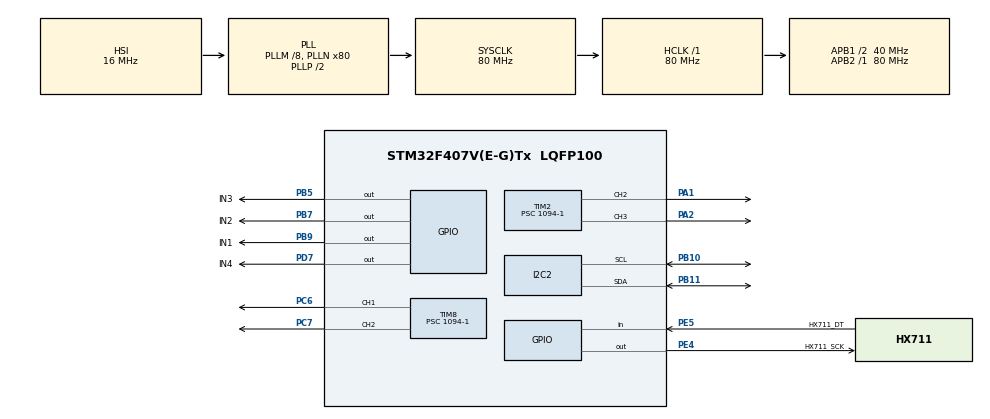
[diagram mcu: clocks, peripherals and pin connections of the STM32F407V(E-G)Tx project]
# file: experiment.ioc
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I2C2.I2C_Mode=I2C_Fast
Mcu.Family=STM32F4
Mcu.Name=STM32F407V(E-G)Tx
Mcu.Package=LQFP100
NVIC.PriorityGroup=NVIC_PRIORITYGROUP_4
PA1.Signal=S_TIM2_CH2
PA2.Signal=S_TIM2_CH3
PB10.Mode=I2C
PB10.Signal=I2C2_SCL
PB11.Mode=I2C
PB11.Signal=I2C2_SDA
PB5.GPIO_Label=IN3
PB5.GPIO_PuPd=GPIO_PULLUP
PB5.GPIO_Speed=GPIO_SPEED_FREQ_HIGH
PB5.PinState=GPIO_PIN_SET
PB5.Signal=GPIO_Output
PB7.GPIO_Label=IN2
PB7.GPIO_PuPd=GPIO_PULLUP
PB7.GPIO_Speed=GPIO_SPEED_FREQ_HIGH
PB7.PinState=GPIO_PIN_SET
PB7.Signal=GPIO_Output
PB9.GPIO_Label=IN1
PB9.GPIO_PuPd=GPIO_PULLUP
PB9.GPIO_Speed=GPIO_SPEED_FREQ_HIGH
PB9.PinState=GPIO_PIN_SET
PB9.Signal=GPIO_Output
PC14-OSC32_IN.Mode=LSE-External-Oscillator
PC14-OSC32_IN.Signal=RCC_OSC32_IN
PC15-OSC32_OUT.Mode=LSE-External-Oscillator
PC15-OSC32_OUT.Signal=RCC_OSC32_OUT
PC6.Signal=S_TIM8_CH1
PC7.Signal=S_TIM8_CH2
PD7.GPIO_Label=IN4
PD7.GPIO_PuPd=GPIO_PULLUP
PD7.GPIO_Speed=GPIO_SPEED_FREQ_HIGH
PD7.PinState=GPIO_PIN_SET
PD7.Signal=GPIO_Output
PE4.GPIO_Label=HX711_SCK
PE4.Signal=GPIO_Output
PE5.GPIO_Label=HX711_DT
PE5.Signal=GPIO_Input
PH0-OSC_IN.Mode=HSE-External-Oscillator
PH0-OSC_IN.Signal=RCC_OSC_IN
PH1-OSC_OUT.Mode=HSE-External-Oscillator
PH1-OSC_OUT.Signal=RCC_OSC_OUT
ProjectManager.HeapSize=0x200
ProjectManager.StackSize=0x400
ProjectManager.TargetToolchain=STM32CubeIDE
RCC.48MHZClocksFreq_Value=40000000
RCC.AHBFreq_Value=80000000
RCC.APB1CLKDivider=RCC_HCLK_DIV2
RCC.APB1Freq_Value=40000000
RCC.APB1TimFreq_Value=80000000
RCC.APB2Freq_Value=80000000
RCC.APB2TimFreq_Value=80000000
RCC.CortexFreq_Value=80000000
RCC.HCLKFreq_Value=80000000
RCC.HSE_VALUE=25000000
RCC.HSI_VALUE=16000000
RCC.PLLM=8
RCC.PLLN=80
RCC.SYSCLKFreq_VALUE=80000000
RCC.SYSCLKSource=RCC_SYSCLKSOURCE_PLLCLK
RCC.VCOOutputFreq_Value=160000000
SH.S_TIM2_CH2.0=TIM2_CH2,PWM Generation2 CH2
SH.S_TIM2_CH3.0=TIM2_CH3,PWM Generation3 CH3
SH.S_TIM8_CH1.0=TIM8_CH1,PWM Generation1 CH1
SH.S_TIM8_CH2.0=TIM8_CH2,PWM Generation2 CH2
TIM2.Channel-Output\ Compare1\ No\ Output=TIM_CHANNEL_1
TIM2.Channel-PWM\ Generation2\ CH2=TIM_CHANNEL_2
TIM2.Channel-PWM\ Generation3\ CH3=TIM_CHANNEL_3
TIM2.OCPolarity_3=TIM_OCPOLARITY_LOW
TIM2.Period=1000-1
TIM2.Prescaler=1094-1
TIM2.Pulse-Output\ Compare1\ No\ Output=250
TIM2.Pulse-PWM\ Generation2\ CH2=500
TIM2.Pulse-PWM\ Generation3\ CH3=500
TIM2.TIM_MasterOutputTrigger=TIM_TRGO_OC1
TIM2.TIM_MasterSlaveMode=TIM_MASTERSLAVEMODE_ENABLE
TIM3.Period=0xffff
TIM3.Prescaler=80-1
TIM4.Period=0xffff
TIM4.Prescaler=80-1
TIM8.Channel-PWM\ Generation1\ CH1=TIM_CHANNEL_1
TIM8.Channel-PWM\ Generation2\ CH2=TIM_CHANNEL_2
TIM8.OCPolarity_2=TIM_OCPOLARITY_LOW
TIM8.Period=9999
TIM8.Prescaler=1094-1
TIM8.Pulse-PWM\ Generation1\ CH1=500
TIM8.Pulse-PWM\ Generation2\ CH2=500
VP_TIM2_VS_ClockSourceINT.Mode=Internal
VP_TIM2_VS_no_output1.Mode=Output Compare1 No Output
VP_TIM3_VS_ClockSourceINT.Mode=Internal
VP_TIM4_VS_ClockSourceINT.Mode=Internal
VP_TIM8_VS_ClockSourceINT.Mode=Internal
VP_TIM8_VS_ClockSourceITR.Mode=TriggerSource_ITR1
VP_TIM8_VS_ControllerModeReset.Mode=Reset Mode
board=custom

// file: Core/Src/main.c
/* USER CODE BEGIN Header */
/**
  ******************************************************************************
  * @file           : main.c
  * @brief          : Main program body
  ******************************************************************************
  * @attention
  *
  * Copyright (c) 2023 STMicroelectronics.
  * All rights reserved.
  *
  * This software is licensed under terms that can be found in the LICENSE file
  * in the root directory of this software component.
  * If no LICENSE file comes with this software, it is provided AS-IS.
  *
  ******************************************************************************
  */
/* USER CODE END Header */
#include "main.h"

I2C_HandleTypeDef hi2c2;

TIM_HandleTypeDef htim2;
TIM_HandleTypeDef htim3;
TIM_HandleTypeDef htim4;
TIM_HandleTypeDef htim8;

/* USER CODE BEGIN PV */
int locate = 1;

/* USER CODE END PV */

void SystemClock_Config(void);
static void MX_GPIO_Init(void);
static void MX_TIM2_Init(void);
static void MX_TIM8_Init(void);
static void MX_TIM4_Init(void);
static void MX_I2C2_Init(void);
static void MX_TIM3_Init(void);

/* USER CODE BEGIN 0 */

#define stepsperrev 4096
int32_t weight = 0;
int32_t initial_weight = 0;
void micro_delay(uint16_t us)
{
	__HAL_TIM_SET_COUNTER(&htim4,0);
	while(__HAL_TIM_GET_COUNTER(&htim4) < us);
}

void delay_us (uint16_t us) //delay function
{
__HAL_TIM_SET_COUNTER(&htim3,0);  // setting the delay counter to 0.
while (__HAL_TIM_GET_COUNTER(&htim3) < us);  // while loop till the counter reaches the delay given (us).
}
void stepper_set_rpm(int rpm)
{
	micro_delay(60000000/stepsperrev/rpm);
}
void stepper_half_drive(int step)
{
	switch(step){
	case 0:
		HAL_GPIO_WritePin(IN1_GPIO_Port, IN1_Pin, GPIO_PIN_SET);
		HAL_GPIO_WritePin(IN2_GPIO_Port, IN2_Pin, GPIO_PIN_RESET);
		HAL_GPIO_WritePin(IN3_GPIO_Port, IN3_Pin, GPIO_PIN_RESET);
		HAL_GPIO_WritePin(IN4_GPIO_Port, IN4_Pin, GPIO_PIN_RESET);
		break;

	case 1:
		HAL_GPIO_WritePin(IN1_GPIO_Port, IN1_Pin, GPIO_PIN_SET);
		HAL_GPIO_WritePin(IN2_GPIO_Port, IN2_Pin, GPIO_PIN_SET);
		HAL_GPIO_WritePin(IN3_GPIO_Port, IN3_Pin, GPIO_PIN_RESET);
		HAL_GPIO_WritePin(IN4_GPIO_Port, IN4_Pin, GPIO_PIN_RESET);
		break;

	case 2:
		HAL_GPIO_WritePin(IN1_GPIO_Port, IN1_Pin, GPIO_PIN_RESET);
		HAL_GPIO_WritePin(IN2_GPIO_Port, IN2_Pin, GPIO_PIN_SET);
		HAL_GPIO_WritePin(IN3_GPIO_Port, IN3_Pin, GPIO_PIN_RESET);
		HAL_GPIO_WritePin(IN4_GPIO_Port, IN4_Pin, GPIO_PIN_RESET);
		break;

	case 3:
		HAL_GPIO_WritePin(IN1_GPIO_Port, IN1_Pin, GPIO_PIN_RESET);
		HAL_GPIO_WritePin(IN2_GPIO_Port, IN2_Pin, GPIO_PIN_SET);
		HAL_GPIO_WritePin(IN3_GPIO_Port, IN3_Pin, GPIO_PIN_SET);
		HAL_GPIO_WritePin(IN4_GPIO_Port, IN4_Pin, GPIO_PIN_RESET);
		break;

	case 4:
		HAL_GPIO_WritePin(IN1_GPIO_Port, IN1_Pin, GPIO_PIN_RESET);
		HAL_GPIO_WritePin(IN2_GPIO_Port, IN2_Pin, GPIO_PIN_RESET);
		HAL_GPIO_WritePin(IN3_GPIO_Port, IN3_Pin, GPIO_PIN_SET);
		HAL_GPIO_WritePin(IN4_GPIO_Port, IN4_Pin, GPIO_PIN_RESET);
		break;

	case 5:
		HAL_GPIO_WritePin(IN1_GPIO_Port, IN1_Pin, GPIO_PIN_RESET);
		HAL_GPIO_WritePin(IN2_GPIO_Port, IN2_Pin, GPIO_PIN_RESET);
		HAL_GPIO_WritePin(IN3_GPIO_Port, IN3_Pin, GPIO_PIN_SET);
		HAL_GPIO_WritePin(IN4_GPIO_Port, IN4_Pin, GPIO_PIN_SET);
		break;

	case 6:
		HAL_GPIO_WritePin(IN1_GPIO_Port, IN1_Pin, GPIO_PIN_RESET);
		HAL_GPIO_WritePin(IN2_GPIO_Port, IN2_Pin, GPIO_PIN_RESET);
		HAL_GPIO_WritePin(IN3_GPIO_Port, IN3_Pin, GPIO_PIN_RESET);
		HAL_GPIO_WritePin(IN4_GPIO_Port, IN4_Pin, GPIO_PIN_SET);
		break;

	case 7:
		HAL_GPIO_WritePin(IN1_GPIO_Port, IN1_Pin, GPIO_PIN_SET);
		HAL_GPIO_WritePin(IN2_GPIO_Port, IN2_Pin, GPIO_PIN_RESET);
		HAL_GPIO_WritePin(IN3_GPIO_Port, IN3_Pin, GPIO_PIN_RESET);
		HAL_GPIO_WritePin(IN4_GPIO_Port, IN4_Pin, GPIO_PIN_SET);
		break;
	}
}

void stepper_step_angle (float angle, int direction, int rpm)
{
  float anglepersequence = 0.703125;  // 360 = 512 sequences
  int numberofsequences = (int) (angle/anglepersequence);

  for (int seq=0; seq<numberofsequences; seq++)
  {
    if (direction == 0)  // for anti- clockwise
    {
      for (int step=7; step>=0; step--)
      {
        stepper_half_drive(step);
        stepper_set_rpm(rpm);
      }

    }

    else if (direction == 1)  // for clockwise
    {
      for (int step=0; step<8; step++)
      {
        stepper_half_drive(step);
        stepper_set_rpm(rpm);
      }
    }
  }
}

void six_step(int n)
{
    //printTemper(n);

	if(n != locate)
	{

	int temp =locate;
	int cnt1 = 0; //clock-wise

	int cnt2 = 0; //anti-clock-wise

	//clock
	for(int i = 1; i<=5; i++)
		{
			temp++;
			cnt1++;

			if(temp > 6)
			{
				temp = 1;
			}
			if(temp == n)
			{
				stepper_step_angle(60*cnt1,1,13);
				locate = n;

				return;
			}
			if(cnt1>=3)
			{

			    break;
			}

		}

	//anti-clock
	temp = locate;
	for(int i = 1; i<=5; i++)
		{
			temp--;
			cnt2++;

			if(temp < 1)
			{
				temp = 6;
			}
			if(temp == n)
			{
				stepper_step_angle(60*cnt2,0,13);
				locate = n;
				return;
			}
			if(cnt2>=3)
			{
				stepper_step_angle(60*cnt2,0,13);
				locate = n;
				return;
			}

		}

	}

}
/* USER CODE END 0 */

int main(void)
{

  /* MCU Configuration--------------------------------------------------------*/

  /* Reset of all peripherals, Initializes the Flash interface and the Systick. */
  HAL_Init();

  /* Configure the system clock */
  SystemClock_Config();

  /* Initialize all configured peripherals */
  MX_GPIO_Init();
  MX_TIM2_Init();
  MX_TIM8_Init();
  MX_TIM4_Init();
  MX_I2C2_Init();
  MX_TIM3_Init();
  /* USER CODE BEGIN 2 */
  //oled
  //SSD1306_Init();
  //SSD1306_InvertDisplay(1);
  //double qq = 15;

  //hx711
  HAL_TIM_Base_Start(&htim3);
  initial_weight = Get_Weight();

/*
  HAL_TIM_PWM_Start(&htim2, TIM_CHANNEL_2);

  HAL_TIM_PWM_Start(&htim2, TIM_CHANNEL_3);

  HAL_TIM_PWM_Start(&htim8, TIM_CHANNEL_1);

  HAL_TIM_PWM_Start(&htim8, TIM_CHANNEL_2);

  opening(qq);

  HAL_TIM_PWM_Stop(&htim2, TIM_CHANNEL_2);

  HAL_TIM_PWM_Stop(&htim2, TIM_CHANNEL_3);

  HAL_TIM_PWM_Stop(&htim8, TIM_CHANNEL_1);

  HAL_TIM_PWM_Stop(&htim8, TIM_CHANNEL_2);
*/
  /* USER CODE END 2 */

  /* Infinite loop */
  /* USER CODE BEGIN WHILE */
  while (1)
  {

	  weight = Get_Weight() - initial_weight;
	  weight *=-1;
	  HAL_Delay(100);

	  /*
	  for(int i = 0; i<512; i++)
	  {
		  for(int j = 0; j<8; j++)
		  {
			  stepper_half_drive(j);
			  stepper_set_rpm(5);
		  }
	  }
	  */
/*
	  six_step(1);

	 	  HAL_Delay(4000);

	 	  six_step(2);

	 	  HAL_Delay(4000);

	 	  six_step(6);

	 	  HAL_Delay(4000);

	 	  six_step(2);

	 	  HAL_Delay(4000);

	 	  six_step(4);

	 	  HAL_Delay(4000);
*/

    /* USER CODE END WHILE */

  }
}

void SystemClock_Config(void)
{
  RCC_OscInitTypeDef RCC_OscInitStruct = {0};
  RCC_ClkInitTypeDef RCC_ClkInitStruct = {0};

  /** Configure the main internal regulator output voltage
  */
  __HAL_RCC_PWR_CLK_ENABLE();
  __HAL_PWR_VOLTAGESCALING_CONFIG(PWR_REGULATOR_VOLTAGE_SCALE1);

  /** Initializes the RCC Oscillators according to the specified parameters
  * in the RCC_OscInitTypeDef structure.
  */
  RCC_OscInitStruct.OscillatorType = RCC_OSCILLATORTYPE_HSI;
  RCC_OscInitStruct.HSIState = RCC_HSI_ON;
  RCC_OscInitStruct.HSICalibrationValue = RCC_HSICALIBRATION_DEFAULT;
  RCC_OscInitStruct.PLL.PLLState = RCC_PLL_ON;
  RCC_OscInitStruct.PLL.PLLSource = RCC_PLLSOURCE_HSI;
  RCC_OscInitStruct.PLL.PLLM = 8;
  RCC_OscInitStruct.PLL.PLLN = 80;
  RCC_OscInitStruct.PLL.PLLP = RCC_PLLP_DIV2;
  RCC_OscInitStruct.PLL.PLLQ = 4;
  if (HAL_RCC_OscConfig(&RCC_OscInitStruct) != HAL_OK)
  {
    Error_Handler();
  }

  /** Initializes the CPU, AHB and APB buses clocks
  */
  RCC_ClkInitStruct.ClockType = RCC_CLOCKTYPE_HCLK|RCC_CLOCKTYPE_SYSCLK
                              |RCC_CLOCKTYPE_PCLK1|RCC_CLOCKTYPE_PCLK2;
  RCC_ClkInitStruct.SYSCLKSource = RCC_SYSCLKSOURCE_PLLCLK;
  RCC_ClkInitStruct.AHBCLKDivider = RCC_SYSCLK_DIV1;
  RCC_ClkInitStruct.APB1CLKDivider = RCC_HCLK_DIV2;
  RCC_ClkInitStruct.APB2CLKDivider = RCC_HCLK_DIV1;

  if (HAL_RCC_ClockConfig(&RCC_ClkInitStruct, FLASH_LATENCY_2) != HAL_OK)
  {
    Error_Handler();
  }
}

static void MX_I2C2_Init(void)
{

  hi2c2.Instance = I2C2;
  hi2c2.Init.ClockSpeed = 400000;
  hi2c2.Init.DutyCycle = I2C_DUTYCYCLE_2;
  hi2c2.Init.OwnAddress1 = 0;
  hi2c2.Init.AddressingMode = I2C_ADDRESSINGMODE_7BIT;
  hi2c2.Init.DualAddressMode = I2C_DUALADDRESS_DISABLE;
  hi2c2.Init.OwnAddress2 = 0;
  hi2c2.Init.GeneralCallMode = I2C_GENERALCALL_DISABLE;
  hi2c2.Init.NoStretchMode = I2C_NOSTRETCH_DISABLE;
  if (HAL_I2C_Init(&hi2c2) != HAL_OK)
  {
    Error_Handler();
  }

}

static void MX_TIM2_Init(void)
{

  TIM_ClockConfigTypeDef sClockSourceConfig = {0};
  TIM_MasterConfigTypeDef sMasterConfig = {0};
  TIM_OC_InitTypeDef sConfigOC = {0};

  htim2.Instance = TIM2;
  htim2.Init.Prescaler = 1094-1;
  htim2.Init.CounterMode = TIM_COUNTERMODE_UP;
  htim2.Init.Period = 1000-1;
  htim2.Init.ClockDivision = TIM_CLOCKDIVISION_DIV1;
  htim2.Init.AutoReloadPreload = TIM_AUTORELOAD_PRELOAD_DISABLE;
  if (HAL_TIM_Base_Init(&htim2) != HAL_OK)
  {
    Error_Handler();
  }
  sClockSourceConfig.ClockSource = TIM_CLOCKSOURCE_INTERNAL;
  if (HAL_TIM_ConfigClockSource(&htim2, &sClockSourceConfig) != HAL_OK)
  {
    Error_Handler();
  }
  if (HAL_TIM_OC_Init(&htim2) != HAL_OK)
  {
    Error_Handler();
  }
  if (HAL_TIM_PWM_Init(&htim2) != HAL_OK)
  {
    Error_Handler();
  }
  sMasterConfig.MasterOutputTrigger = TIM_TRGO_OC1;
  sMasterConfig.MasterSlaveMode = TIM_MASTERSLAVEMODE_ENABLE;
  if (HAL_TIMEx_MasterConfigSynchronization(&htim2, &sMasterConfig) != HAL_OK)
  {
    Error_Handler();
  }
  sConfigOC.OCMode = TIM_OCMODE_TIMING;
  sConfigOC.Pulse = 250;
  sConfigOC.OCPolarity = TIM_OCPOLARITY_HIGH;
  sConfigOC.OCFastMode = TIM_OCFAST_DISABLE;
  if (HAL_TIM_OC_ConfigChannel(&htim2, &sConfigOC, TIM_CHANNEL_1) != HAL_OK)
  {
    Error_Handler();
  }
  sConfigOC.OCMode = TIM_OCMODE_PWM1;
  sConfigOC.Pulse = 500;
  if (HAL_TIM_PWM_ConfigChannel(&htim2, &sConfigOC, TIM_CHANNEL_2) != HAL_OK)
  {
    Error_Handler();
  }
  sConfigOC.OCPolarity = TIM_OCPOLARITY_LOW;
  if (HAL_TIM_PWM_ConfigChannel(&htim2, &sConfigOC, TIM_CHANNEL_3) != HAL_OK)
  {
    Error_Handler();
  }
  HAL_TIM_MspPostInit(&htim2);

}

static void MX_TIM3_Init(void)
{

  TIM_ClockConfigTypeDef sClockSourceConfig = {0};
  TIM_MasterConfigTypeDef sMasterConfig = {0};

  htim3.Instance = TIM3;
  htim3.Init.Prescaler = 80-1;
  htim3.Init.CounterMode = TIM_COUNTERMODE_UP;
  htim3.Init.Period = 0xffff;
  htim3.Init.ClockDivision = TIM_CLOCKDIVISION_DIV1;
  htim3.Init.AutoReloadPreload = TIM_AUTORELOAD_PRELOAD_DISABLE;
  if (HAL_TIM_Base_Init(&htim3) != HAL_OK)
  {
    Error_Handler();
  }
  sClockSourceConfig.ClockSource = TIM_CLOCKSOURCE_INTERNAL;
  if (HAL_TIM_ConfigClockSource(&htim3, &sClockSourceConfig) != HAL_OK)
  {
    Error_Handler();
  }
  sMasterConfig.MasterOutputTrigger = TIM_TRGO_RESET;
  sMasterConfig.MasterSlaveMode = TIM_MASTERSLAVEMODE_DISABLE;
  if (HAL_TIMEx_MasterConfigSynchronization(&htim3, &sMasterConfig) != HAL_OK)
  {
    Error_Handler();
  }

}

static void MX_TIM4_Init(void)
{

  TIM_ClockConfigTypeDef sClockSourceConfig = {0};
  TIM_MasterConfigTypeDef sMasterConfig = {0};

  htim4.Instance = TIM4;
  htim4.Init.Prescaler = 80-1;
  htim4.Init.CounterMode = TIM_COUNTERMODE_UP;
  htim4.Init.Period = 0xffff;
  htim4.Init.ClockDivision = TIM_CLOCKDIVISION_DIV1;
  htim4.Init.AutoReloadPreload = TIM_AUTORELOAD_PRELOAD_DISABLE;
  if (HAL_TIM_Base_Init(&htim4) != HAL_OK)
  {
    Error_Handler();
  }
  sClockSourceConfig.ClockSource = TIM_CLOCKSOURCE_INTERNAL;
  if (HAL_TIM_ConfigClockSource(&htim4, &sClockSourceConfig) != HAL_OK)
  {
    Error_Handler();
  }
  sMasterConfig.MasterOutputTrigger = TIM_TRGO_RESET;
  sMasterConfig.MasterSlaveMode = TIM_MASTERSLAVEMODE_DISABLE;
  if (HAL_TIMEx_MasterConfigSynchronization(&htim4, &sMasterConfig) != HAL_OK)
  {
    Error_Handler();
  }

}

static void MX_TIM8_Init(void)
{

  TIM_ClockConfigTypeDef sClockSourceConfig = {0};
  TIM_SlaveConfigTypeDef sSlaveConfig = {0};
  TIM_MasterConfigTypeDef sMasterConfig = {0};
  TIM_OC_InitTypeDef sConfigOC = {0};
  TIM_BreakDeadTimeConfigTypeDef sBreakDeadTimeConfig = {0};

  htim8.Instance = TIM8;
  htim8.Init.Prescaler = 1094-1;
  htim8.Init.CounterMode = TIM_COUNTERMODE_UP;
  htim8.Init.Period = 9999;
  htim8.Init.ClockDivision = TIM_CLOCKDIVISION_DIV1;
  htim8.Init.RepetitionCounter = 0;
  htim8.Init.AutoReloadPreload = TIM_AUTORELOAD_PRELOAD_DISABLE;
  if (HAL_TIM_Base_Init(&htim8) != HAL_OK)
  {
    Error_Handler();
  }
  sClockSourceConfig.ClockSource = TIM_CLOCKSOURCE_INTERNAL;
  if (HAL_TIM_ConfigClockSource(&htim8, &sClockSourceConfig) != HAL_OK)
  {
    Error_Handler();
  }
  if (HAL_TIM_PWM_Init(&htim8) != HAL_OK)
  {
    Error_Handler();
  }
  sSlaveConfig.SlaveMode = TIM_SLAVEMODE_RESET;
  sSlaveConfig.InputTrigger = TIM_TS_ITR1;
  if (HAL_TIM_SlaveConfigSynchro(&htim8, &sSlaveConfig) != HAL_OK)
  {
    Error_Handler();
  }
  sMasterConfig.MasterOutputTrigger = TIM_TRGO_RESET;
  sMasterConfig.MasterSlaveMode = TIM_MASTERSLAVEMODE_DISABLE;
  if (HAL_TIMEx_MasterConfigSynchronization(&htim8, &sMasterConfig) != HAL_OK)
  {
    Error_Handler();
  }
  sConfigOC.OCMode = TIM_OCMODE_PWM1;
  sConfigOC.Pulse = 500;
  sConfigOC.OCPolarity = TIM_OCPOLARITY_HIGH;
  sConfigOC.OCNPolarity = TIM_OCNPOLARITY_HIGH;
  sConfigOC.OCFastMode = TIM_OCFAST_DISABLE;
  sConfigOC.OCIdleState = TIM_OCIDLESTATE_RESET;
  sConfigOC.OCNIdleState = TIM_OCNIDLESTATE_RESET;
  if (HAL_TIM_PWM_ConfigChannel(&htim8, &sConfigOC, TIM_CHANNEL_1) != HAL_OK)
  {
    Error_Handler();
  }
  sConfigOC.OCPolarity = TIM_OCPOLARITY_LOW;
  if (HAL_TIM_PWM_ConfigChannel(&htim8, &sConfigOC, TIM_CHANNEL_2) != HAL_OK)
  {
    Error_Handler();
  }
  sBreakDeadTimeConfig.OffStateRunMode = TIM_OSSR_DISABLE;
  sBreakDeadTimeConfig.OffStateIDLEMode = TIM_OSSI_DISABLE;
  sBreakDeadTimeConfig.LockLevel = TIM_LOCKLEVEL_OFF;
  sBreakDeadTimeConfig.DeadTime = 0;
  sBreakDeadTimeConfig.BreakState = TIM_BREAK_DISABLE;
  sBreakDeadTimeConfig.BreakPolarity = TIM_BREAKPOLARITY_HIGH;
  sBreakDeadTimeConfig.AutomaticOutput = TIM_AUTOMATICOUTPUT_DISABLE;
  if (HAL_TIMEx_ConfigBreakDeadTime(&htim8, &sBreakDeadTimeConfig) != HAL_OK)
  {
    Error_Handler();
  }
  HAL_TIM_MspPostInit(&htim8);

}

static void MX_GPIO_Init(void)
{
  GPIO_InitTypeDef GPIO_InitStruct = {0};

  /* GPIO Ports Clock Enable */
  __HAL_RCC_GPIOE_CLK_ENABLE();
  __HAL_RCC_GPIOC_CLK_ENABLE();
  __HAL_RCC_GPIOH_CLK_ENABLE();
  __HAL_RCC_GPIOA_CLK_ENABLE();
  __HAL_RCC_GPIOB_CLK_ENABLE();
  __HAL_RCC_GPIOD_CLK_ENABLE();

  /*Configure GPIO pin Output Level */
  HAL_GPIO_WritePin(HX711_SCK_GPIO_Port, HX711_SCK_Pin, GPIO_PIN_RESET);

  /*Configure GPIO pin Output Level */
  HAL_GPIO_WritePin(IN4_GPIO_Port, IN4_Pin, GPIO_PIN_SET);

  /*Configure GPIO pin Output Level */
  HAL_GPIO_WritePin(GPIOB, IN3_Pin|IN2_Pin|IN1_Pin, GPIO_PIN_SET);

  /*Configure GPIO pin : HX711_SCK_Pin */
  GPIO_InitStruct.Pin = HX711_SCK_Pin;
  GPIO_InitStruct.Mode = GPIO_MODE_OUTPUT_PP;
  GPIO_InitStruct.Pull = GPIO_NOPULL;
  GPIO_InitStruct.Speed = GPIO_SPEED_FREQ_LOW;
  HAL_GPIO_Init(HX711_SCK_GPIO_Port, &GPIO_InitStruct);

  /*Configure GPIO pin : HX711_DT_Pin */
  GPIO_InitStruct.Pin = HX711_DT_Pin;
  GPIO_InitStruct.Mode = GPIO_MODE_INPUT;
  GPIO_InitStruct.Pull = GPIO_NOPULL;
  HAL_GPIO_Init(HX711_DT_GPIO_Port, &GPIO_InitStruct);

  /*Configure GPIO pin : IN4_Pin */
  GPIO_InitStruct.Pin = IN4_Pin;
  GPIO_InitStruct.Mode = GPIO_MODE_OUTPUT_PP;
  GPIO_InitStruct.Pull = GPIO_PULLUP;
  GPIO_InitStruct.Speed = GPIO_SPEED_FREQ_HIGH;
  HAL_GPIO_Init(IN4_GPIO_Port, &GPIO_InitStruct);

  /*Configure GPIO pins : IN3_Pin IN2_Pin IN1_Pin */
  GPIO_InitStruct.Pin = IN3_Pin|IN2_Pin|IN1_Pin;
  GPIO_InitStruct.Mode = GPIO_MODE_OUTPUT_PP;
  GPIO_InitStruct.Pull = GPIO_PULLUP;
  GPIO_InitStruct.Speed = GPIO_SPEED_FREQ_HIGH;
  HAL_GPIO_Init(GPIOB, &GPIO_InitStruct);

}

void Error_Handler(void)
{
  __disable_irq();
  while (1)
  {
  }
}
